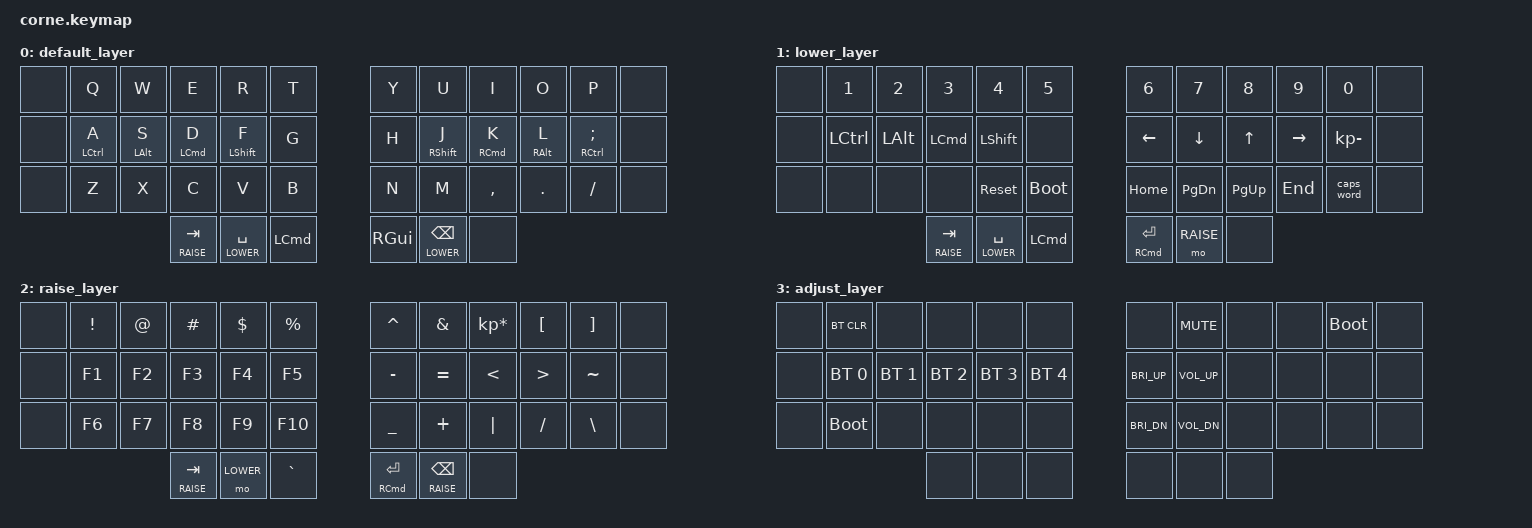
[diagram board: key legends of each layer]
/*
 * Copyright (c) 2020 The ZMK Contributors
 *
 * SPDX-License-Identifier: MIT
 */

#include <behaviors.dtsi>
#include <dt-bindings/zmk/bt.h>
#include <dt-bindings/zmk/keys.h>

#define DEFAULT 0
#define LOWER   1
#define RAISE   2
#define ADJUST  3
#define LWR LOWER
#define RSE RAISE
#define ADJ ADJUST

&mt {
    quick_tap_ms = <180>;
    tapping-term-ms = <250>;
};

&lt {
    quick_tap_ms = <200>;
    tapping-term-ms = <180>;
};

/ {

     behaviors {
            //                 Key positions
            //       0  1  2  3  4  5    6  7  8  9 10 11
            //      12 13 14 15 16 17   18 19 20 21 22 23
            //      24 25 26 27 28 29   30 31 32 33 34 35
            //               36 37 38   39 40 41

            hml: homerow_mods_left {
                compatible = "zmk,behavior-hold-tap";
                label = "HOMEROW_MODS_LEFT";
                #binding-cells = <2>;
                flavor = "tap-preferred";
                tapping-term-ms = <250>;
                quick-tap-ms = <180>;
                bindings = <&kp>, <&kp>;

                hold-trigger-key-positions = <
                                             6  7  8  9 10
                           13 14 15 16      18 19 20 21 22
                              26            30 31 32 33 34
                                  37 38   39 40 41
                >;

                // <---[[right-hand keys + all homerow mods + all thumbs]]
            };

            hmr: homerow_mods_right {
                compatible = "zmk,behavior-hold-tap";
                label = "HOMEROW_MODS_RIGHT";
                #binding-cells = <2>;
                flavor = "tap-preferred";
                tapping-term-ms = <250>;
                quick-tap-ms = <180>;
                bindings = <&kp>, <&kp>;

                hold-trigger-key-positions = <
                            1  2  3  4  5
                           13 14 15 16 17      19 20 21 22
                           25 26 27 28 29            33
                                  37 38   39 40 41
                >;

                // <---[[left-hand keys + all homerow mods + all thumbs]]
            };
        };

    combos {
        compatible = "zmk,combos";

        combo_esc {
            timeout-ms = <50>;
            key-positions = <1 13>;
            bindings = <&kp ESC>;
        };

        combo_lpar {
            timeout-ms = <50>;
            key-positions = <1 2>;
            bindings = <&kp LPAR>;
        };

        combo_rpar {
            timeout-ms = <50>;
            key-positions = <9 10>;
            bindings = <&kp RPAR>;
        };

        combo_lbkt {
            timeout-ms = <50>;
            key-positions = <2 3>;
            bindings = <&kp LBKT>;
        };

        combo_rbkt {
            timeout-ms = <50>;
            key-positions = <8 9>;
            bindings = <&kp RBKT>;
        };

        combo_lbrc {
            timeout-ms = <50>;
            key-positions = <3 4>;
            bindings = <&kp LBRC>;
        };

        combo_rbrc {
            timeout-ms = <50>;
            key-positions = <7 8>;
            bindings = <&kp RBRC>;
        };

        combo_grave {
            timeout-ms = <50>;
            key-positions = <4 5>;
            bindings = <&kp GRAVE>;
        };

        combo_tilda {
            timeout-ms = <50>;
            key-positions = <6 7>;
            bindings = <&kp TILDE>;
        };

        combo_quot {
            timeout-ms = <50>;
            key-positions = <10 22>;
            bindings = <&kp QUOT>;
        };

        combo_enter {
            timeout-ms = <50>;
            key-positions = <39 40>;
            bindings = <&kp RET>;
        };

        prntscr {
            bindings = <&prntscr_macro>;
            key-positions = <4 3 2>;
        };

        ide_b {
            bindings = <&ide_b_macro>;
            key-positions = <1 13 25>;
        };

        ide_f {
            bindings = <&ide_f_macro>;
            key-positions = <22 10 34>;
        };
        ide_go_edit {
            bindings = <&ide_go_edit_macro>;
            key-positions = <10 9 8>;
        };
    };

    conditional_layers {
        compatible = "zmk,conditional-layers";

        tri_layer {
            if-layers = <LOWER RAISE>;
            then-layer = <ADJUST>;
        };
    };

    macros {
        prntscr_macro: prntscr_macro {
            compatible = "zmk,behavior-macro";
            #binding-cells = <0>;
            bindings =
                <&macro_press>,
                <&kp LSHFT>,
                <&macro_press>,
                <&kp LCMD>,
                <&macro_tap>,
                <&kp N4>,
                <&macro_release>,
                <&kp LSHFT>,
                <&macro_release>,
                <&kp LCMD>;

            label = "PRNTSCR_MACRO";
        };

        ide_b_macro: ide_b_macro {
            compatible = "zmk,behavior-macro";
            #binding-cells = <0>;
            bindings =
                <&macro_press>,
                <&kp LALT>,
                <&macro_press>,
                <&kp LCMD>,
                <&macro_tap>,
                <&kp LEFT>,
                <&macro_release>,
                <&kp LALT>,
                <&macro_release>,
                <&kp LCMD>;

            label = "IDE_B_MACRO";
        };

        ide_f_macro: ide_f_macro {
            compatible = "zmk,behavior-macro";
            #binding-cells = <0>;
            bindings =
                <&macro_press>,
                <&kp LALT>,
                <&macro_press>,
                <&kp LCMD>,
                <&macro_tap>,
                <&kp RIGHT>,
                <&macro_release>,
                <&kp LALT>,
                <&macro_release>,
                <&kp LCMD>;

            label = "IDE_F_MACRO";
        };
        ide_go_edit_macro: ide_go_edit_macro {
            compatible = "zmk,behavior-macro";
            #binding-cells = <0>;
            bindings =
                <&macro_press>,
                <&kp LSHFT>,
                <&macro_press>,
                <&kp LCMD>,
                <&macro_tap>,
                <&kp BSPC>,
                <&macro_release>,
                <&kp LSHFT>,
                <&macro_release>,
                <&kp LCMD>;

            label = "IDE_GO_EDIT_MACRO";
        };
    };

    keymap {
        compatible = "zmk,keymap";

        default_layer {
            bindings = <
&none  &kp Q         &kp W        &kp E          &kp R           &kp T       &kp Y         &kp U          &kp I         &kp O        &kp P            &none
&none  &hml LCTRL A  &hml LALT S  &hml LCMD D    &hml LSHFT F    &kp G       &kp H         &hmr RSHFT J   &hmr RCMD K   &hmr RALT L  &hmr RCTRL SEMI  &none
&none  &kp Z  &kp X  &kp C        &kp V          &kp B           &kp N       &kp M         &kp COMMA      &kp DOT       &kp FSLH     &none
                                  &lt RSE TAB  &lt LWR SPACE   &kp LCMD    &kp RGUI      &lt LWR BSPC     &none
            >;
        };

        lower_layer {
            bindings = <
&none  &kp N1     &kp N2    &kp N3       &kp N4         &kp N5      &kp N6        &kp N7           &kp N8          &kp N9        &kp N0      &none
&none  &kp LCTRL  &kp LALT  &kp LCMD     &kp LSHFT      &none       &kp LEFT      &kp DOWN         &kp UP          &kp RIGHT     &kp KP_MINUS  &none
&none  &none      &none     &none        &sys_reset     &bootloader  &kp HOME     &kp PG_DN        &kp PG_UP       &kp END       &caps_word    &none
                            &lt RSE TAB  &lt LWR SPACE  &kp LCMD    &mt RCMD RET  &mo RSE          &none
            >;
        };

        raise_layer {
            bindings = <
&none  &kp EXCL       &kp AT        &kp HASH      &kp DLLR        &kp PRCNT    &kp CARET     &kp AMPS          &kp KP_MULTIPLY   &kp LBKT        &kp RBKT         &none
&none  &kp F1         &kp F2        &kp F3        &kp F4          &kp F5       &kp MINUS     &kp EQUAL         &kp LESS_THAN     &kp GREATER_THAN  &kp TILDE      &none
&none  &kp F6         &kp F7        &kp F8        &kp F9          &kp F10      &kp UNDER     &kp PLUS          &kp PIPE         &kp FSLH        &kp BSLH         &none
                                    &lt RSE TAB   &mo LWR         &kp GRAVE    &mt RCMD RET  &lt RSE BSPC      &none
            >;
        };

        adjust_layer {
            bindings = <
&none  &bt BT_CLR    &none         &none         &none         &none           &none         &kp K_MUTE    &none  &none  &bootloader  &none
&none  &bt BT_SEL 0  &bt BT_SEL 1  &bt BT_SEL 2  &bt BT_SEL 3  &bt BT_SEL 4    &kp C_BRI_UP  &kp C_VOL_UP  &none  &none  &none        &none
&none  &bootloader   &none         &none         &none         &none           &kp C_BRI_DN  &kp C_VOL_DN  &none  &none  &none        &none
                                   &none         &none         &none           &none         &none         &none
            >;
        };
    };
};
